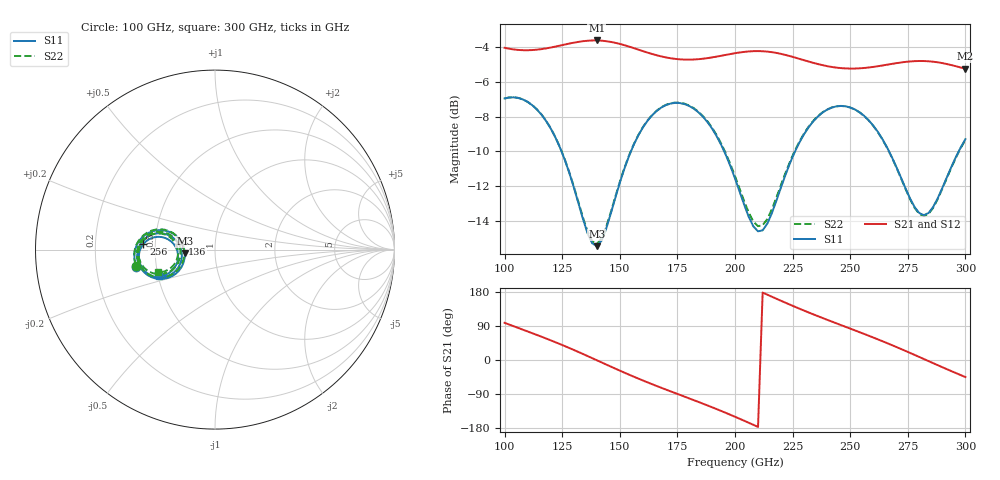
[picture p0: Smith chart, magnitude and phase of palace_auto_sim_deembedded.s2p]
! Created with skrf 1.11.0 (http://scikit-rf.org).
# GHz S DB R 50.0
!freq dBS11 angS11 dBS21 angS21 dBS12 angS12 dBS22 angS22
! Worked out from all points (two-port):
!   101 points, 100 GHz to 300 GHz, reference 50 ohm
!   highest |S21| = -3.64 dB at 140 GHz (marker M1); lowest = -5.3 dB at 300 GHz (marker M2)
!   |S21| within 3 dB of the highest: start of sweep to end of sweep
!   lowest |S11| = -15.4 dB at 140 GHz (marker M3), VSWR 1.41, Z = 35.6 - j1.44 ohm
!   |S11| at or under -10 dB: 124.7 GHz to 154.8 GHz (30.15 GHz wide, 21.6 % of centre); 195.3 GHz to 226.1 GHz (30.75 GHz wide, 14.6 % of centre); 266.9 GHz to 297.1 GHz (30.23 GHz wide, 10.7 % of centre)
!   |S22| runs from -15.3 to -6.9 dB; largest |S21 - S12| = 7.3e-14
!   S11 on the Smith chart (normalised r, x): 100 GHz: 0.38, -0.09; 136 GHz: 0.69, +0.04; 256 GHz: 0.43, +0.03; 300 GHz: 0.51, -0.17
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100  -6.97 -167.8  -4.07 98.1  -4.07 98.1  -6.97 -168.5
108  -7.03 -179.8  -4.20 79.9  -4.20 79.9  -7.02 179.3
118  -8.25 166.5  -4.10 56.7  -4.10 56.7  -8.24 165.6
126  -10.44 159.2  -3.88 37.0  -3.88 37.0  -10.41 158.4
134  -13.86 164.6  -3.69 15.9  -3.69 15.9  -13.78 163.8
136  -14.69 170.2  -3.66 10.5  -3.66 10.5  -14.58 169.3
140  -15.43 -173.3  -3.64 -0.6  -3.64 -0.6  -15.30 -174.6
146  -13.60 -152.7  -3.73 -17.2  -3.73 -17.2  -13.52 -154.4
154  -10.26 -149.0  -4.00 -38.7  -4.00 -38.7  -10.23 -150.7
168  -7.49 -164.5  -4.56 -73.3  -4.56 -73.3  -7.47 -166.2
184  -7.74 174.1  -4.72 -110.3  -4.72 -110.3  -7.71 172.5
200  -11.55 162.8  -4.38 -149.8  -4.38 -149.8  -11.41 161.5
208  -14.30 176.8  -4.26 -171.2  -4.26 -171.2  -14.02 174.8
212  -14.52 -169.2  -4.26 177.9  -4.26 177.9  -14.23 -172.0
224  -10.63 -150.6  -4.55 145.6  -4.55 145.6  -10.54 -154.2
234  -8.27 -158.1  -4.93 120.5  -4.93 120.5  -8.24 -161.6
244  -7.42 -170.2  -5.20 96.8  -5.20 96.8  -7.41 -173.5
256  -7.96 175.5  -5.22 68.9  -5.22 68.9  -7.97 172.1
268  -10.30 166.8  -4.99 39.5  -4.99 39.5  -10.32 163.2
282  -13.65 -173.0  -4.82 2.5  -4.82 2.5  -13.70 -176.6
290  -12.09 -155.7  -4.94 -19.0  -4.94 -19.0  -12.13 -159.2
300  -9.30 -154.6  -5.27 -45.0  -5.27 -45.0  -9.34 -158.3
